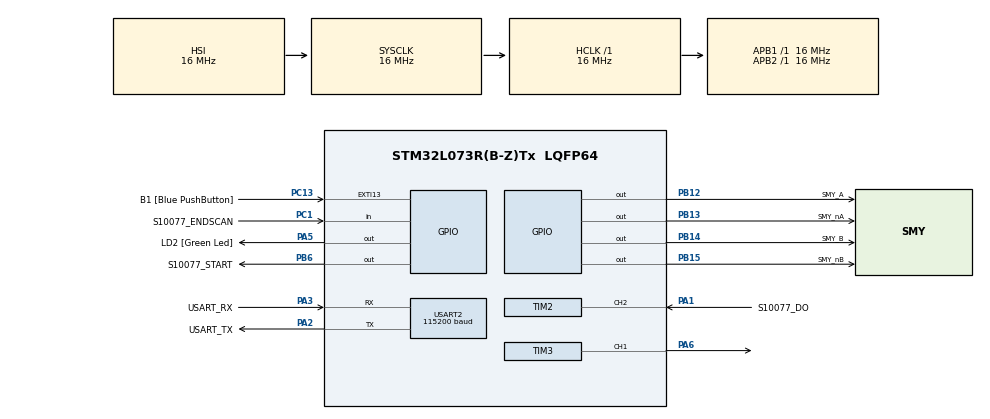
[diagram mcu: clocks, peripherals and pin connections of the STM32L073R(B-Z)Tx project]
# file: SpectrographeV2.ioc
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Dma.Request0=TIM2_CH2
Dma.TIM2_CH2.0.Direction=DMA_PERIPH_TO_MEMORY
Dma.TIM2_CH2.0.Instance=DMA1_Channel3
Dma.TIM2_CH2.0.MemDataAlignment=DMA_MDATAALIGN_HALFWORD
Dma.TIM2_CH2.0.MemInc=DMA_MINC_ENABLE
Dma.TIM2_CH2.0.Mode=DMA_NORMAL
Dma.TIM2_CH2.0.PeriphDataAlignment=DMA_PDATAALIGN_HALFWORD
Dma.TIM2_CH2.0.PeriphInc=DMA_PINC_DISABLE
Dma.TIM2_CH2.0.Priority=DMA_PRIORITY_VERY_HIGH
Mcu.Family=STM32L0
Mcu.Name=STM32L073R(B-Z)Tx
Mcu.Package=LQFP64
NVIC.DMA1_Channel2_3_IRQn=true\:0\:0\:false\:false\:true\:false\:true\:true
NVIC.TIM21_IRQn=true\:0\:0\:false\:false\:true\:true\:true\:true
PA1.GPIO_Label=S10077_DO
PA1.Signal=S_TIM2_CH2
PA13.GPIO_Label=TMS
PA13.Mode=Serial_Wire
PA13.Signal=SYS_SWDIO
PA14.GPIO_Label=TCK
PA14.Mode=Serial_Wire
PA14.Signal=SYS_SWCLK
PA2.GPIO_Label=USART_TX
PA2.Mode=Asynchronous
PA2.Signal=USART2_TX
PA3.GPIO_Label=USART_RX
PA3.Mode=Asynchronous
PA3.Signal=USART2_RX
PA5.GPIO_Label=LD2 [Green Led]
PA5.Signal=GPIO_Output
PA6.Signal=S_TIM3_CH1
PB12.GPIO_Label=SMY_A
PB12.Signal=GPIO_Output
PB13.GPIO_Label=SMY_nA
PB13.Signal=GPIO_Output
PB14.GPIO_Label=SMY_B
PB14.Signal=GPIO_Output
PB15.GPIO_Label=SMY_nB
PB15.Signal=GPIO_Output
PB6.GPIO_Label=S10077_START
PB6.Signal=GPIO_Output
PC1.GPIO_Label=S10077_ENDSCAN
PC1.Signal=GPIO_Input
PC13.GPIO_Label=B1 [Blue PushButton]
PC13.GPIO_ModeDefaultEXTI=GPIO_MODE_IT_FALLING
PC13.Signal=GPXTI13
PC14-OSC32_IN.Mode=LSE-External-Oscillator
PC14-OSC32_IN.Signal=RCC_OSC32_IN
PC15-OSC32_OUT.Mode=LSE-External-Oscillator
PC15-OSC32_OUT.Signal=RCC_OSC32_OUT
PH0-OSC_IN.GPIO_Label=MCO
PH0-OSC_IN.Mode=HSE-External-Clock-Source
PH0-OSC_IN.Signal=RCC_OSC_IN
ProjectManager.HeapSize=0x200
ProjectManager.StackSize=0x400
ProjectManager.TargetToolchain=STM32CubeIDE
RCC.AHBFreq_Value=16000000
RCC.APB1Freq_Value=16000000
RCC.APB1TimFreq_Value=16000000
RCC.APB2Freq_Value=16000000
RCC.APB2TimFreq_Value=16000000
RCC.HCLKFreq_Value=16000000
RCC.HSE_VALUE=8000000
RCC.HSI16_VALUE=16000000
RCC.HSI48_VALUE=48000000
RCC.HSI_VALUE=16000000
RCC.MSI_VALUE=2097000
RCC.SYSCLKFreq_VALUE=16000000
RCC.SYSCLKSource=RCC_SYSCLKSOURCE_HSI
RCC.VCOOutputFreq_Value=48000000
SH.S_TIM2_CH2.0=TIM2_CH2,Input_Capture2_from_TI2
SH.S_TIM3_CH1.0=TIM3_CH1,PWM Generation1 CH1
TIM2.Channel-Input_Capture2_from_TI2=TIM_CHANNEL_2
TIM2.ClockDivision=TIM_CLOCKDIVISION_DIV1
TIM2.ICFilter_CH2=0
TIM2.ICPolarity_CH2=TIM_INPUTCHANNELPOLARITY_BOTHEDGE
TIM2.Period=14000
TIM2.Prescaler=15
TIM21.Period=39
TIM21.Prescaler=19
TIM3.Channel-PWM\ Generation1\ CH1=TIM_CHANNEL_1
TIM3.Period=3
TIM3.Prescaler=3
TIM3.Pulse-PWM\ Generation1\ CH1=2
USART2.BaudRate=115200
USART2.VirtualMode-Asynchronous=VM_ASYNC
VP_TIM21_VS_ClockSourceINT.Mode=Internal
VP_TIM2_VS_ClockSourceINT.Mode=Internal
VP_TIM3_VS_ClockSourceINT.Mode=Internal
board=NUCLEO-L073RZ

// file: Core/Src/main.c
/* USER CODE BEGIN Header */
/**
  ******************************************************************************
  * @file           : main.c
  * @brief          : Main program body
  ******************************************************************************
  * @attention
  *
  * Copyright (c) 2024 STMicroelectronics.
  * All rights reserved.
  *
  * This software is licensed under terms that can be found in the LICENSE file
  * in the root directory of this software component.
  * If no LICENSE file comes with this software, it is provided AS-IS.
  *
  ******************************************************************************
  */
/* USER CODE END Header */
#include "main.h"
#include "dma.h"
#include "tim.h"
#include "usart.h"
#include "gpio.h"

/* USER CODE BEGIN Includes */

#include <stdio.h>
#include <stm32l0xx_it.h>
#include <stdbool.h>
/* USER CODE END Includes */

void SystemClock_Config(void);

int main(void)
{

  /* USER CODE BEGIN 1 */
HAL_GPIO_WritePin(SMY_nA_GPIO_Port, SMY_A_Pin, GPIO_PIN_RESET);
HAL_GPIO_WritePin(SMY_A_GPIO_Port, SMY_nA_Pin, GPIO_PIN_RESET);
HAL_GPIO_WritePin(SMY_B_GPIO_Port, SMY_B_Pin, GPIO_PIN_RESET);
HAL_GPIO_WritePin(SMY_nB_GPIO_Port, SMY_nB_Pin, GPIO_PIN_RESET);
  /* USER CODE END 1 */

  /* MCU Configuration--------------------------------------------------------*/

  /* Reset of all peripherals, Initializes the Flash interface and the Systick. */
  HAL_Init();

  /* Configure the system clock */
  SystemClock_Config();

  /* Initialize all configured peripherals */
  MX_GPIO_Init();
  MX_DMA_Init();
  MX_USART2_UART_Init();

  MX_TIM3_Init();
  MX_TIM2_Init();
  MX_TIM21_Init();
  /* USER CODE BEGIN 2 */
  HAL_TIM_Base_Start_IT(&htim3);
  HAL_TIM_Base_Start_IT(&htim2);
  HAL_TIM_Base_Start_IT(&htim21);
  HAL_TIM_PWM_Start(&htim3, TIM_CHANNEL_1);

  /* USER CODE END 2 */

  /* Infinite loop */
  while (1)
  {

    /* USER CODE BEGIN 3 */
	  TEMOINLED(100);
	  S10077_StartConversion(15000);

  }
  /* USER CODE END 3 */
}

void SystemClock_Config(void)
{
  RCC_OscInitTypeDef RCC_OscInitStruct = {0};
  RCC_ClkInitTypeDef RCC_ClkInitStruct = {0};
  RCC_PeriphCLKInitTypeDef PeriphClkInit = {0};

  /** Configure the main internal regulator output voltage
  */
  __HAL_PWR_VOLTAGESCALING_CONFIG(PWR_REGULATOR_VOLTAGE_SCALE1);

  /** Initializes the RCC Oscillators according to the specified parameters
  * in the RCC_OscInitTypeDef structure.
  */
  RCC_OscInitStruct.OscillatorType = RCC_OSCILLATORTYPE_HSI;
  RCC_OscInitStruct.HSIState = RCC_HSI_ON;
  RCC_OscInitStruct.HSICalibrationValue = RCC_HSICALIBRATION_DEFAULT;
  RCC_OscInitStruct.PLL.PLLState = RCC_PLL_NONE;
  if (HAL_RCC_OscConfig(&RCC_OscInitStruct) != HAL_OK)
  {
    Error_Handler();
  }

  /** Initializes the CPU, AHB and APB buses clocks
  */
  RCC_ClkInitStruct.ClockType = RCC_CLOCKTYPE_HCLK|RCC_CLOCKTYPE_SYSCLK
                              |RCC_CLOCKTYPE_PCLK1|RCC_CLOCKTYPE_PCLK2;
  RCC_ClkInitStruct.SYSCLKSource = RCC_SYSCLKSOURCE_HSI;
  RCC_ClkInitStruct.AHBCLKDivider = RCC_SYSCLK_DIV1;
  RCC_ClkInitStruct.APB1CLKDivider = RCC_HCLK_DIV1;
  RCC_ClkInitStruct.APB2CLKDivider = RCC_HCLK_DIV1;

  if (HAL_RCC_ClockConfig(&RCC_ClkInitStruct, FLASH_LATENCY_0) != HAL_OK)
  {
    Error_Handler();
  }
  PeriphClkInit.PeriphClockSelection = RCC_PERIPHCLK_USART2;
  PeriphClkInit.Usart2ClockSelection = RCC_USART2CLKSOURCE_PCLK1;
  if (HAL_RCCEx_PeriphCLKConfig(&PeriphClkInit) != HAL_OK)
  {
    Error_Handler();
  }
}

/* USER CODE BEGIN 4 */
int __io_putchar(int ch)
{
/* Custom implementation of fputc here */
HAL_UART_Transmit(&huart2, (uint8_t *)&ch, 1, 0xFFFF);
return ch;
}

void TEMOINLED(int x_blinktime){
	//HAL_GPIO_TogglePin(LD2_GPIO_Port, LD2_Pin);
	HAL_Delay(x_blinktime);

}

/* USER CODE END 4 */

void Error_Handler(void)
{
  __disable_irq();
  while (1)
  {
  }
}
